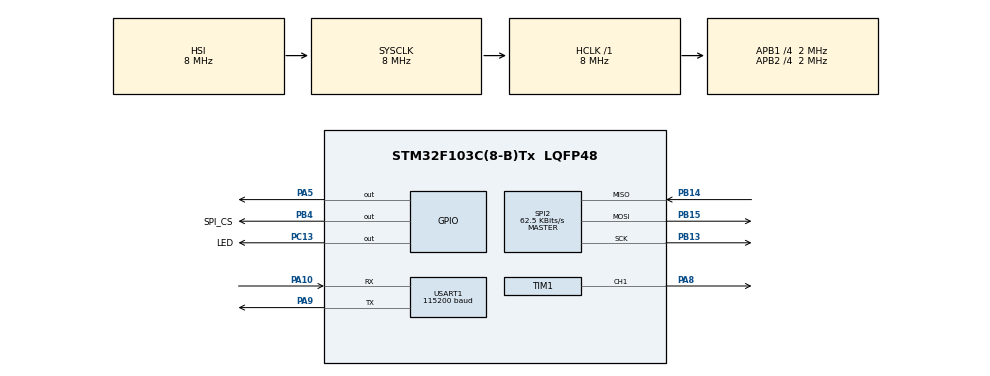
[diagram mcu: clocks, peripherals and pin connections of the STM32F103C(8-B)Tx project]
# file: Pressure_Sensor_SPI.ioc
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Mcu.Family=STM32F1
Mcu.Name=STM32F103C(8-B)Tx
Mcu.Package=LQFP48
NVIC.PriorityGroup=NVIC_PRIORITYGROUP_4
PA10.Mode=Asynchronous
PA10.Signal=USART1_RX
PA13.Mode=Serial_Wire
PA13.Signal=SYS_JTMS-SWDIO
PA14.Mode=Serial_Wire
PA14.Signal=SYS_JTCK-SWCLK
PA5.Signal=GPIO_Output
PA8.Signal=S_TIM1_CH1
PA9.Mode=Asynchronous
PA9.Signal=USART1_TX
PB13.Mode=Full_Duplex_Master
PB13.Signal=SPI2_SCK
PB14.Mode=Full_Duplex_Master
PB14.Signal=SPI2_MISO
PB15.Mode=Full_Duplex_Master
PB15.Signal=SPI2_MOSI
PB4.GPIO_Label=SPI_CS
PB4.Signal=GPIO_Output
PC13-TAMPER-RTC.GPIO_Label=LED
PC13-TAMPER-RTC.Signal=GPIO_Output
ProjectManager.HeapSize=0x200
ProjectManager.StackSize=0x400
ProjectManager.TargetToolchain=STM32CubeIDE
RCC.AHBFreq_Value=8000000
RCC.APB1CLKDivider=RCC_HCLK_DIV4
RCC.APB1Freq_Value=2000000
RCC.APB1TimFreq_Value=4000000
RCC.APB2CLKDivider=RCC_HCLK_DIV4
RCC.APB2Freq_Value=2000000
RCC.APB2TimFreq_Value=4000000
RCC.HCLKFreq_Value=8000000
RCC.SYSCLKFreq_VALUE=8000000
RCC.USBFreq_Value=8000000
SH.S_TIM1_CH1.0=TIM1_CH1,PWM Generation1 CH1
SPI2.BaudRatePrescaler=SPI_BAUDRATEPRESCALER_32
SPI2.CalculateBaudRate=62.5 KBits/s
SPI2.Direction=SPI_DIRECTION_2LINES
SPI2.Mode=SPI_MODE_MASTER
SPI2.VirtualType=VM_MASTER
TIM1.Channel-PWM\ Generation1\ CH1=TIM_CHANNEL_1
TIM1.Period=100
TIM1.Prescaler=800
TIM1.Pulse-PWM\ Generation1\ CH1=500
USART1.BaudRate=115200
USART1.VirtualMode=VM_ASYNC
VP_TIM1_VS_ClockSourceINT.Mode=Internal
board=custom

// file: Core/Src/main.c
/* USER CODE BEGIN Header */
/**
  ******************************************************************************
  * @file           : main.c
  * @brief          : Main program body
  ******************************************************************************
  * @attention
  *
  * <h2><center>&copy; Copyright (c) 2019 STMicroelectronics.
  * All rights reserved.</center></h2>
  *
  * This software component is licensed by ST under BSD 3-Clause license,
  * the "License"; You may not use this file except in compliance with the
  * License. You may obtain a copy of the License at:
  *                        opensource.org/licenses/BSD-3-Clause
  *
  ******************************************************************************
  */
/* USER CODE END Header */

#include "main.h"

/* USER CODE BEGIN Includes */
#include "stdio.h"
#include "bmp280.h"
#include <strings.h>
/* USER CODE END Includes */

SPI_HandleTypeDef hspi2;

TIM_HandleTypeDef htim1;

UART_HandleTypeDef huart1;

void SystemClock_Config(void);
static void MX_GPIO_Init(void);
static void MX_USART1_UART_Init(void);
static void MX_TIM1_Init(void);
static void MX_SPI2_Init(void);

/* USER CODE BEGIN 0 */

#define BUG_LENGTH 512
char buffer[512]; // to store data
uint8_t spiData[2];

void delay_ms(uint32_t period_ms)
{
    HAL_Delay(period_ms);
}

//int8_t i2c_reg_write(uint8_t i2c_addr, uint8_t reg_addr, uint8_t *reg_data, uint16_t length)
//{
//
//    /* Implement the I2C write routine according to the target machine. */
//    return -1;
//}
//
///*!
// *  @brief Function for reading the sensor's registers through I2C bus.
// *
// *  @param[in] i2c_addr : Sensor I2C address.
// *  @param[in] reg_addr : Register address.
// *  @param[out] reg_data    : Pointer to the data buffer to store the read data.
// *  @param[in] length   : No of bytes to read.
// *
// *  @return Status of execution
// *  @retval 0 -> Success
// *  @retval >0 -> Failure Info
// *
// */
//int8_t i2c_reg_read(uint8_t i2c_addr, uint8_t reg_addr, uint8_t *reg_data, uint16_t length)
//{
//
//    /* Implement the I2C read routine according to the target machine. */
//    return -1;
//}
//
///*!
// *  @brief Function for writing the sensor's registers through SPI bus.
// *
// *  @param[in] cs           : Chip select to enable the sensor.
// *  @param[in] reg_addr     : Register address.
// *  @param[in] reg_data : Pointer to the data buffer whose data has to be written.
// *  @param[in] length       : No of bytes to write.
// *
// *  @return Status of execution
// *  @retval 0 -> Success
// *  @retval >0 -> Failure Info
// *
// */

int8_t spi_reg_write(uint8_t cs, uint8_t reg_addr, uint8_t *reg_data, uint16_t length)
{
//	uint8_t data[8], i;
//
//	for(i=0; i<length; i++) {
//		data[i*2]   = reg_addr + i;
//		data[i*2+1] = reg_data[i];
//	}

	// select the chip
	HAL_GPIO_WritePin(GPIOB, cs, GPIO_PIN_RESET);

	HAL_SPI_Transmit(&hspi2, &reg_addr, 1, 10000);
	HAL_SPI_Transmit(&hspi2, reg_data, length, 10000);

	HAL_GPIO_WritePin(GPIOB, cs, GPIO_PIN_SET);
    return 0;
}

/*!
 *  @brief Function for reading the sensor's registers through SPI bus.
 *
 *  @param[in] cs       : Chip select to enable the sensor.
 *  @param[in] reg_addr : Register address.
 *  @param[out] reg_data    : Pointer to the data buffer to store the read data.
 *  @param[in] length   : No of bytes to read.
 *
 *  @return Status of execution
 *  @retval 0 -> Success
 *  @retval >0 -> Failure Info
 *
 */
int8_t spi_reg_read(uint8_t cs, uint8_t reg_addr, uint8_t *reg_data, uint16_t length)
{
	HAL_GPIO_WritePin(GPIOB, cs, GPIO_PIN_RESET);

	HAL_SPI_Transmit(&hspi2, &reg_addr, 1, 10000);
	HAL_SPI_Receive(&hspi2, reg_data, length, 10000);

	HAL_GPIO_WritePin(GPIOB, cs, GPIO_PIN_SET);

    return 0;
}

/* to send the data to the uart */
void send_uart (char *string)
{
	uint8_t len = strlen (string);
	HAL_UART_Transmit(&huart1, (uint8_t *) string, len, 2000);  // transmit in blocking mode
}

/*!
 *  @brief Prints the execution status of the APIs.
 *
 *  @param[in] api_name : name of the API whose execution status has to be printed.
 *  @param[in] rslt     : error code returned by the API whose execution status has to be printed.
 *
 *  @return void.
 */
void print_rslt(const char api_name[], int8_t rslt)
{
	snprintf(buffer, sizeof(buffer), "%s\r\n", api_name);
    if (rslt != BMP280_OK)
    {
        if (rslt == BMP280_E_NULL_PTR)
        {
        	snprintf(buffer, sizeof(buffer), "Error [%d] : Null pointer error\r\n", rslt);
        }
        else if (rslt == BMP280_E_COMM_FAIL)
        {
        	snprintf(buffer, sizeof(buffer), "Error [%d] : Bus communication failed\r\n", rslt);
        }
        else if (rslt == BMP280_E_IMPLAUS_TEMP)
        {
        	snprintf(buffer, sizeof(buffer), "Error [%d] : Invalid Temperature\r\n", rslt);
        }
        else if (rslt == BMP280_E_DEV_NOT_FOUND)
        {
        	snprintf(buffer, sizeof(buffer), "Error [%d] : Device not found\r\n", rslt);
        }
        else
        {
            /* For more error codes refer "*_defs.h" */
        	snprintf(buffer, sizeof(buffer), "Error [%d] : Unknown error code\r\n", rslt);
        }
    }
    send_uart(buffer);
}

/* USER CODE END 0 */

int main(void)
{

  /* MCU Configuration--------------------------------------------------------*/

  /* Reset of all peripherals, Initializes the Flash interface and the Systick. */
  HAL_Init();

  /* Configure the system clock */
  SystemClock_Config();

  /* Initialize all configured peripherals */
  MX_GPIO_Init();
  MX_USART1_UART_Init();
  MX_TIM1_Init();
  MX_SPI2_Init();
  /* USER CODE BEGIN 2 */

  int8_t rslt;
  struct bmp280_dev bmp;
  struct bmp280_config conf;
  struct bmp280_uncomp_data ucomp_data;
  uint32_t pres32, pres64;
  double pres;

  memset((void*) buffer, 0, sizeof(buffer));

  // Set CS to high, this is the "not selected" state
  HAL_GPIO_WritePin(GPIOB, GPIO_PIN_4, GPIO_PIN_SET);
  HAL_GPIO_WritePin(GPIOB, GPIO_PIN_4, GPIO_PIN_RESET);
  HAL_GPIO_WritePin(GPIOB, GPIO_PIN_4, GPIO_PIN_SET);

  /* Map the delay function pointer with the function responsible for implementing the delay */
  bmp.delay_ms = delay_ms;

  /* Assign device I2C address based on the status of SDO pin (GND for PRIMARY(0x76) & VDD for SECONDARY(0x77))
  bmp.dev_id = BMP280_I2C_ADDR_PRIM;

   Select the interface mode as I2C
  bmp.intf = BMP280_I2C_INTF;

   Map the I2C read & write function pointer with the functions responsible for I2C bus transfer
  bmp.read = i2c_reg_read;
  bmp.write = i2c_reg_write;*/

  /* To enable SPI interface: comment the above 4 lines and uncomment the below 4 lines */

  bmp.dev_id = GPIO_PIN_4;
  bmp.read = spi_reg_read;
  bmp.write = spi_reg_write;
  bmp.intf = BMP280_SPI_INTF;

  rslt = bmp280_init(&bmp);
  print_rslt(" bmp280_init status", rslt);

  /* Always read the current settings before writing, especially when
   * all the configuration is not modified
   */
  rslt = bmp280_get_config(&conf, &bmp);
  print_rslt(" bmp280_get_config status", rslt);

  /* configuring the temperature oversampling, filter coefficient and output data rate */
  /* Overwrite the desired settings */
  conf.filter = BMP280_FILTER_COEFF_2;

  /* Pressure oversampling set at 4x */
  conf.os_pres = BMP280_OS_4X;

  /* Setting the output data rate as 1HZ(1000ms) */
  conf.odr = BMP280_ODR_1000_MS;
  rslt = bmp280_set_config(&conf, &bmp);
  print_rslt(" bmp280_set_config status", rslt);

  /* Always set the power mode after setting the configuration */
  rslt = bmp280_set_power_mode(BMP280_NORMAL_MODE, &bmp);
  print_rslt(" bmp280_set_power_mode status", rslt);

  /* USER CODE END 2 */

  /* Infinite loop */
  while (1)
  {

    /* USER CODE BEGIN 3 */

	/* Reading the raw data from sensor */
	rslt = bmp280_get_uncomp_data(&ucomp_data, &bmp);

	/* Getting the compensated pressure using 32 bit precision */
	rslt = bmp280_get_comp_pres_32bit(&pres32, ucomp_data.uncomp_press, &bmp);

	/* Getting the compensated pressure using 64 bit precision */
	rslt = bmp280_get_comp_pres_64bit(&pres64, ucomp_data.uncomp_press, &bmp);

	/* Getting the compensated pressure as floating point value */
	rslt = bmp280_get_comp_pres_double(&pres, ucomp_data.uncomp_press, &bmp);
	snprintf(buffer, sizeof(buffer), "UP: %ld, P32: %ld, P64: %ld, P64N: %ld, P: %f\r\n",
	                 ucomp_data.uncomp_press,
	                 pres32,
	                 pres64,
	                 pres64 / 256,
	                 pres);
	send_uart(buffer);
	bmp.delay_ms(1000); /* Sleep time between measurements = BMP280_ODR_1000_MS */

	//PWM TEST
	for (int x = 0; x <= 100; x++) {
		__HAL_TIM_SET_COMPARE(&htim1, TIM_CHANNEL_1, x);

		char cycle;
		sprintf(cycle, "%d \r", TIM1->CCR1);
		HAL_UART_Transmit(&huart1, cycle, 64, 100);

		if (x == 0) {
			HAL_Delay(300);
		}

		HAL_Delay(500);
		HAL_GPIO_TogglePin(GPIOC, GPIO_PIN_13);

  }
  /* USER CODE END 3 */
}

void SystemClock_Config(void)
{
  RCC_OscInitTypeDef RCC_OscInitStruct = {0};
  RCC_ClkInitTypeDef RCC_ClkInitStruct = {0};

  /** Initializes the CPU, AHB and APB busses clocks
  */
  RCC_OscInitStruct.OscillatorType = RCC_OSCILLATORTYPE_HSI;
  RCC_OscInitStruct.HSIState = RCC_HSI_ON;
  RCC_OscInitStruct.HSICalibrationValue = RCC_HSICALIBRATION_DEFAULT;
  RCC_OscInitStruct.PLL.PLLState = RCC_PLL_NONE;
  if (HAL_RCC_OscConfig(&RCC_OscInitStruct) != HAL_OK)
  {
    Error_Handler();
  }
  /** Initializes the CPU, AHB and APB busses clocks
  */
  RCC_ClkInitStruct.ClockType = RCC_CLOCKTYPE_HCLK|RCC_CLOCKTYPE_SYSCLK
                              |RCC_CLOCKTYPE_PCLK1|RCC_CLOCKTYPE_PCLK2;
  RCC_ClkInitStruct.SYSCLKSource = RCC_SYSCLKSOURCE_HSI;
  RCC_ClkInitStruct.AHBCLKDivider = RCC_SYSCLK_DIV1;
  RCC_ClkInitStruct.APB1CLKDivider = RCC_HCLK_DIV4;
  RCC_ClkInitStruct.APB2CLKDivider = RCC_HCLK_DIV4;

  if (HAL_RCC_ClockConfig(&RCC_ClkInitStruct, FLASH_LATENCY_0) != HAL_OK)
  {
    Error_Handler();
  }
}

static void MX_SPI2_Init(void)
{

  /* SPI2 parameter configuration*/
  hspi2.Instance = SPI2;
  hspi2.Init.Mode = SPI_MODE_MASTER;
  hspi2.Init.Direction = SPI_DIRECTION_2LINES;
  hspi2.Init.DataSize = SPI_DATASIZE_8BIT;
  hspi2.Init.CLKPolarity = SPI_POLARITY_LOW;
  hspi2.Init.CLKPhase = SPI_PHASE_1EDGE;
  hspi2.Init.NSS = SPI_NSS_SOFT;
  hspi2.Init.BaudRatePrescaler = SPI_BAUDRATEPRESCALER_32;
  hspi2.Init.FirstBit = SPI_FIRSTBIT_MSB;
  hspi2.Init.TIMode = SPI_TIMODE_DISABLE;
  hspi2.Init.CRCCalculation = SPI_CRCCALCULATION_DISABLE;
  hspi2.Init.CRCPolynomial = 10;
  if (HAL_SPI_Init(&hspi2) != HAL_OK)
  {
    Error_Handler();
  }

}

static void MX_TIM1_Init(void)
{

  TIM_ClockConfigTypeDef sClockSourceConfig = {0};
  TIM_MasterConfigTypeDef sMasterConfig = {0};
  TIM_OC_InitTypeDef sConfigOC = {0};
  TIM_BreakDeadTimeConfigTypeDef sBreakDeadTimeConfig = {0};

  htim1.Instance = TIM1;
  htim1.Init.Prescaler = 800;
  htim1.Init.CounterMode = TIM_COUNTERMODE_UP;
  htim1.Init.Period = 100;
  htim1.Init.ClockDivision = TIM_CLOCKDIVISION_DIV1;
  htim1.Init.RepetitionCounter = 0;
  htim1.Init.AutoReloadPreload = TIM_AUTORELOAD_PRELOAD_DISABLE;
  if (HAL_TIM_Base_Init(&htim1) != HAL_OK)
  {
    Error_Handler();
  }
  sClockSourceConfig.ClockSource = TIM_CLOCKSOURCE_INTERNAL;
  if (HAL_TIM_ConfigClockSource(&htim1, &sClockSourceConfig) != HAL_OK)
  {
    Error_Handler();
  }
  if (HAL_TIM_PWM_Init(&htim1) != HAL_OK)
  {
    Error_Handler();
  }
  sMasterConfig.MasterOutputTrigger = TIM_TRGO_RESET;
  sMasterConfig.MasterSlaveMode = TIM_MASTERSLAVEMODE_DISABLE;
  if (HAL_TIMEx_MasterConfigSynchronization(&htim1, &sMasterConfig) != HAL_OK)
  {
    Error_Handler();
  }
  sConfigOC.OCMode = TIM_OCMODE_PWM1;
  sConfigOC.Pulse = 500;
  sConfigOC.OCPolarity = TIM_OCPOLARITY_HIGH;
  sConfigOC.OCNPolarity = TIM_OCNPOLARITY_HIGH;
  sConfigOC.OCFastMode = TIM_OCFAST_DISABLE;
  sConfigOC.OCIdleState = TIM_OCIDLESTATE_RESET;
  sConfigOC.OCNIdleState = TIM_OCNIDLESTATE_RESET;
  if (HAL_TIM_PWM_ConfigChannel(&htim1, &sConfigOC, TIM_CHANNEL_1) != HAL_OK)
  {
    Error_Handler();
  }
  sBreakDeadTimeConfig.OffStateRunMode = TIM_OSSR_DISABLE;
  sBreakDeadTimeConfig.OffStateIDLEMode = TIM_OSSI_DISABLE;
  sBreakDeadTimeConfig.LockLevel = TIM_LOCKLEVEL_OFF;
  sBreakDeadTimeConfig.DeadTime = 0;
  sBreakDeadTimeConfig.BreakState = TIM_BREAK_DISABLE;
  sBreakDeadTimeConfig.BreakPolarity = TIM_BREAKPOLARITY_HIGH;
  sBreakDeadTimeConfig.AutomaticOutput = TIM_AUTOMATICOUTPUT_DISABLE;
  if (HAL_TIMEx_ConfigBreakDeadTime(&htim1, &sBreakDeadTimeConfig) != HAL_OK)
  {
    Error_Handler();
  }
  HAL_TIM_MspPostInit(&htim1);

}

static void MX_USART1_UART_Init(void)
{

  huart1.Instance = USART1;
  huart1.Init.BaudRate = 115200;
  huart1.Init.WordLength = UART_WORDLENGTH_8B;
  huart1.Init.StopBits = UART_STOPBITS_1;
  huart1.Init.Parity = UART_PARITY_NONE;
  huart1.Init.Mode = UART_MODE_TX_RX;
  huart1.Init.HwFlowCtl = UART_HWCONTROL_NONE;
  huart1.Init.OverSampling = UART_OVERSAMPLING_16;
  if (HAL_UART_Init(&huart1) != HAL_OK)
  {
    Error_Handler();
  }

}

static void MX_GPIO_Init(void)
{
  GPIO_InitTypeDef GPIO_InitStruct = {0};

  /* GPIO Ports Clock Enable */
  __HAL_RCC_GPIOC_CLK_ENABLE();
  __HAL_RCC_GPIOA_CLK_ENABLE();
  __HAL_RCC_GPIOB_CLK_ENABLE();

  /*Configure GPIO pin Output Level */
  HAL_GPIO_WritePin(LED_GPIO_Port, LED_Pin, GPIO_PIN_RESET);

  /*Configure GPIO pin Output Level */
  HAL_GPIO_WritePin(GPIOA, GPIO_PIN_5, GPIO_PIN_RESET);

  /*Configure GPIO pin Output Level */
  HAL_GPIO_WritePin(SPI_CS_GPIO_Port, SPI_CS_Pin, GPIO_PIN_RESET);

  /*Configure GPIO pin : LED_Pin */
  GPIO_InitStruct.Pin = LED_Pin;
  GPIO_InitStruct.Mode = GPIO_MODE_OUTPUT_PP;
  GPIO_InitStruct.Pull = GPIO_NOPULL;
  GPIO_InitStruct.Speed = GPIO_SPEED_FREQ_LOW;
  HAL_GPIO_Init(LED_GPIO_Port, &GPIO_InitStruct);

  /*Configure GPIO pin : PA5 */
  GPIO_InitStruct.Pin = GPIO_PIN_5;
  GPIO_InitStruct.Mode = GPIO_MODE_OUTPUT_PP;
  GPIO_InitStruct.Pull = GPIO_NOPULL;
  GPIO_InitStruct.Speed = GPIO_SPEED_FREQ_LOW;
  HAL_GPIO_Init(GPIOA, &GPIO_InitStruct);

  /*Configure GPIO pin : SPI_CS_Pin */
  GPIO_InitStruct.Pin = SPI_CS_Pin;
  GPIO_InitStruct.Mode = GPIO_MODE_OUTPUT_PP;
  GPIO_InitStruct.Pull = GPIO_NOPULL;
  GPIO_InitStruct.Speed = GPIO_SPEED_FREQ_LOW;
  HAL_GPIO_Init(SPI_CS_GPIO_Port, &GPIO_InitStruct);

}

/* USER CODE BEGIN 4 */
/*
void setupSensor(void)
{
 twiSend(address, 0x1E,1); //just send 1 byte that tells MS5611 to reset
 delay(20000); //delay 10 mS needed for device to execute reset
 for (int i=1;i<=6;i++)
 {
 twiReceive(address, 0xA0+i*2, 2); //read all 14 bytes for callibration data from PROM
 //printMsg("b0= 0x%x, b1= 0x%x, b2= 0x%x \n",buffer[0], buffer[1], buffer[2]); //for debug purposes
  delay(50); //at least 40 uS
 calibrationData[i] = buffer[0]<<8|buffer[1]; //pair of bytes goes into each element of callibrationData[i], global variables, 14 uint8_t into 7 uint16_t
  }
 //delay(50);
 //printMsg("b0= %d, b1= %d, b2= %d \n",buffer[0], buffer[1], buffer[2]); //for debug purposes
}

int getPressure(void)
{
 D1=0;D2=0;
 twiSend(address, 0x48,1); //set D1 OSR=4096 (overscan, maximum) 0x48
 delay(25000);//must be 15 mS or more
 twiReceive(address, 0x00, 3); //initiate and read ADC data, 3 bytes
 //printMsg("b0= 0x%x, b1= 0x%x, b2= 0x%x ===========\n",buffer[0], buffer[1], buffer[2]); //for debug purposes
 D1 = D1<<8 | buffer[0]; //shifting first MSB byte left
 D1 = D1<<8 | buffer[1]; //another byte
 D1 = D1<<8 | buffer[2]; //LSB byte last
 twiSend(address, 0x58,1); //set D2 OSR=4096 (overscan, maximum) 0x58
 delay(25000); //must be 15 mS or more
 twiReceive(address, 0x00, 3); //initiate and read ADC data, 3 bytes
 D2 = D2<<8 | buffer[0]; //shifting first MSB byte left
 D2 = D2<<8 | buffer[1]; //another byte
 D2 = D2<<8 | buffer[2]; //LSB byte last

 dT = D2 - ((int)calibrationData[5] << 8);
  TEMP = (2000 + (((int64_t)dT * (int64_t)calibrationData[6]) >> 23)); //temperature before second order compensation
  if (TEMP<2000)  //if temperature of the sensor goes below 20°C, it activates "second order temperature compensation"
    {
      T2=pow(dT,2)/2147483648;
      OFF2=5*pow((TEMP-2000),2)/2;
      SENS2=5*pow((TEMP-2000),2)/4;
      if (TEMP<-1500) //if temperature of the sensor goes even lower, below -15°C, then additional math is utilized
        {
          OFF2=OFF2+7*pow((TEMP+1500),2);
          SENS2=SENS2+11*pow((TEMP+1500),2)/2;
        }
    }
    else
      {
          T2=0;
          OFF2=0;
          SENS2=0;
      }
  TEMP = ((2000 + (((int64_t)dT * (int64_t)calibrationData[6]) >> 23))-T2); //second order compensation included
  OFF = (((unsigned int)calibrationData[2] << 16) + (((int64_t)calibrationData[4] * dT) >> 7)-OFF2); //second order compensation included
  SENS = (((unsigned int)calibrationData[1] << 15) + (((int64_t)calibrationData[3] * dT) >> 8)-SENS2); //second order compensation included
  P = (((D1 * SENS) >> 21) - OFF) >> 15;
  return P; //returns back pressure P
}
*/

/* USER CODE END 4 */

void Error_Handler(void)
{
}

/************************ (C) COPYRIGHT STMicroelectronics *****END OF FILE****/
